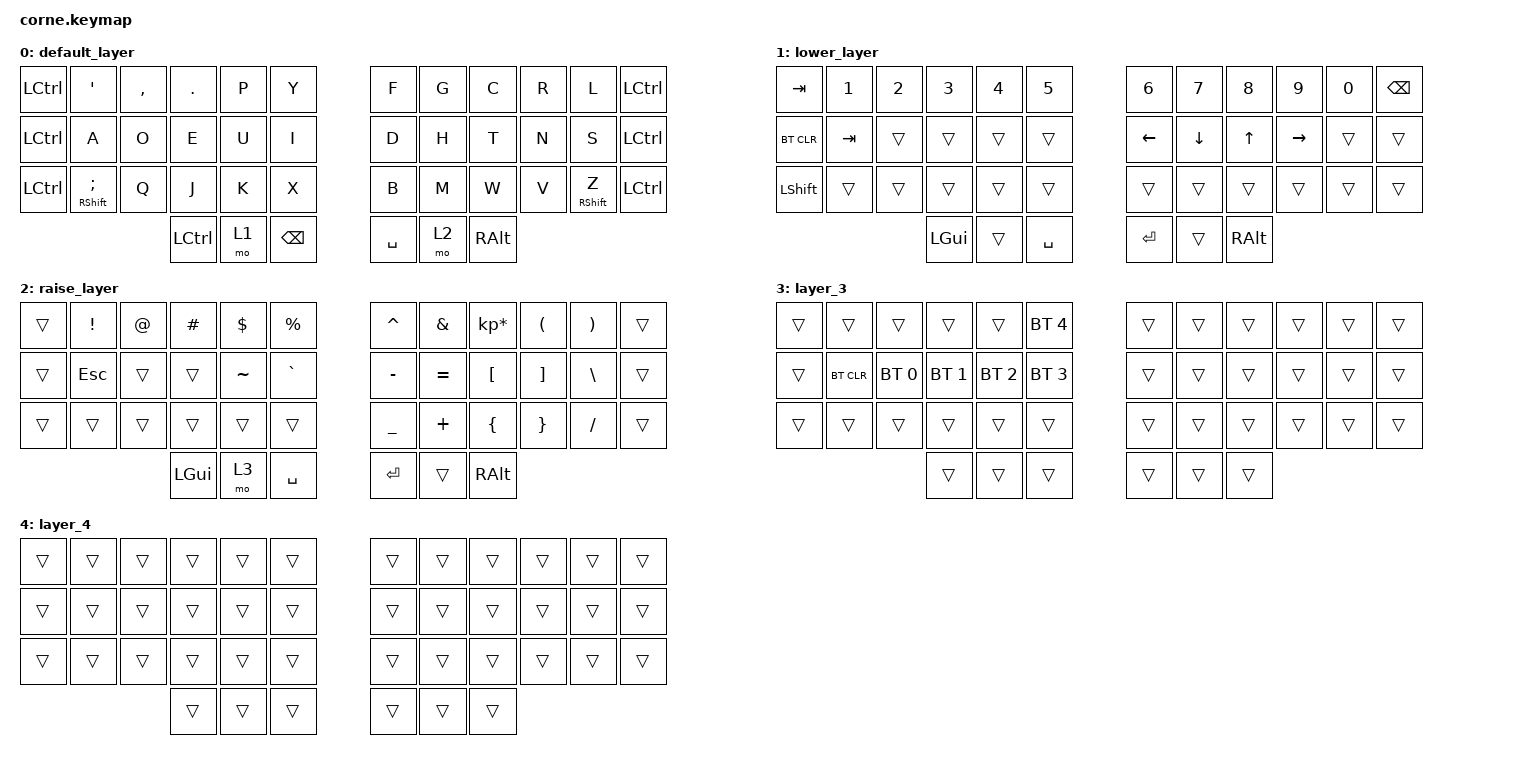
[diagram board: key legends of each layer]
/*
 * Copyright (c) 2020 The ZMK Contributors
 *
 * SPDX-License-Identifier: MIT
 */

#include <behaviors.dtsi>
#include <dt-bindings/zmk/bt.h>
#include <dt-bindings/zmk/keys.h>

/ {
    combos {
        compatible = "zmk,combos";

        ENTR {
            bindings = <&kp ENTER>;
            key-positions = <18 19>;
        };
    };

    behaviors {
        new_behavior: new_behavior {
            compatible = "zmk,behavior-hold-tap";
            label = "NEW_BEHAVIOR";
            bindings = <&kp>, <&kp>;

            #binding-cells = <2>;
            tapping-term-ms = <400>;
            flavor = "tap-preferred";
            quick-tap-ms = <200>;
        };
    };

    keymap {
        compatible = "zmk,keymap";

        default_layer {
            // -----------------------------------------------------------------------------------------
            // |  TAB |  Q  |  W  |  E  |  R  |  T  |   |  Y  |  U   |  I  |  O  |  P  | BKSP |
            // | CTRL |  A  |  S  |  D  |  F  |  G  |   |  H  |  J   |  K  |  L  |  ;  |  '   |
            // | SHFT |  Z  |  X  |  C  |  V  |  B  |   |  N  |  M   |  ,  |  .  |  /  | ESC  |
            //                    | GUI | LWR | SPC |   | ENT | RSE  | ALT |

            bindings = <
&kp LEFT_CONTROL  &kp SQT                              &kp COMMA  &kp PERIOD        &kp P  &kp Y            &kp F      &kp G  &kp C     &kp R  &kp L                        &kp LEFT_CONTROL
&kp LCTRL         &kp A                                &kp O      &kp E             &kp U  &kp I            &kp D      &kp H  &kp T     &kp N  &kp S                        &kp LEFT_CONTROL
&kp LEFT_CONTROL  &new_behavior RIGHT_SHIFT SEMICOLON  &kp Q      &kp J             &kp K  &kp X            &kp B      &kp M  &kp W     &kp V  &new_behavior RIGHT_SHIFT Z  &kp LEFT_CONTROL
                                                                  &kp LEFT_CONTROL  &mo 1  &kp BACKSPACE    &kp SPACE  &mo 2  &kp RALT
            >;
        };

        lower_layer {
            // -----------------------------------------------------------------------------------------
            // |  TAB |  1  |  2  |  3  |  4  |  5  |   |  6  |  7  |  8  |  9  |  0  | BKSP |
            // | BTCLR| BT1 | BT2 | BT3 | BT4 | BT5 |   | LFT | DWN |  UP | RGT |     |      |
            // | SHFT |     |     |     |     |     |   |     |     |     |     |     |      |
            //                    | GUI |     | SPC |   | ENT |     | ALT |

            bindings = <
&kp TAB     &kp N1   &kp N2  &kp N3    &kp N4  &kp N5       &kp N6    &kp N7    &kp N8    &kp N9     &kp N0  &kp BSPC
&bt BT_CLR  &kp TAB  &trans  &trans    &trans  &trans       &kp LEFT  &kp DOWN  &kp UP    &kp RIGHT  &trans  &trans
&kp LSHFT   &trans   &trans  &trans    &trans  &trans       &trans    &trans    &trans    &trans     &trans  &trans
                             &kp LGUI  &trans  &kp SPACE    &kp RET   &trans    &kp RALT
            >;
        };

        raise_layer {
            // -----------------------------------------------------------------------------------------
            // |  TAB |  !  |  @  |  #  |  $  |  %  |   |  ^  |  &  |  *  |  (  |  )  | BKSP |
            // | CTRL |     |     |     |     |     |   |  -  |  =  |  [  |  ]  |  \  |  `   |
            // | SHFT |     |     |     |     |     |   |  _  |  +  |  {  |  }  | "|" |  ~   |
            //                    | GUI |     | SPC |   | ENT |     | ALT |

            bindings = <
&trans  &kp EXCL  &kp AT  &kp HASH  &kp DLLR   &kp PRCNT    &kp CARET  &kp AMPS   &kp KP_MULTIPLY  &kp LPAR  &kp RPAR   &trans
&trans  &kp ESC   &trans  &trans    &kp TILDE  &kp GRAVE    &kp MINUS  &kp EQUAL  &kp LBKT         &kp RBKT  &kp BSLH   &trans
&trans  &trans    &trans  &trans    &trans     &trans       &kp UNDER  &kp PLUS   &kp LBRC         &kp RBRC  &kp SLASH  &trans
                          &kp LGUI  &mo 3      &kp SPACE    &kp RET    &trans     &kp RALT
            >;
        };

        layer_3 {
            bindings = <
&trans  &trans      &trans        &trans        &trans        &bt BT_SEL 4    &trans  &trans  &trans  &trans  &trans  &trans
&trans  &bt BT_CLR  &bt BT_SEL 0  &bt BT_SEL 1  &bt BT_SEL 2  &bt BT_SEL 3    &trans  &trans  &trans  &trans  &trans  &trans
&trans  &trans      &trans        &trans        &trans        &trans          &trans  &trans  &trans  &trans  &trans  &trans
                                  &trans        &trans        &trans          &trans  &trans  &trans
            >;
        };

        layer_4 {
            bindings = <
&trans  &trans  &trans  &trans  &trans  &trans    &trans  &trans  &trans  &trans  &trans  &trans
&trans  &trans  &trans  &trans  &trans  &trans    &trans  &trans  &trans  &trans  &trans  &trans
&trans  &trans  &trans  &trans  &trans  &trans    &trans  &trans  &trans  &trans  &trans  &trans
                        &trans  &trans  &trans    &trans  &trans  &trans
            >;
        };
    };
};
